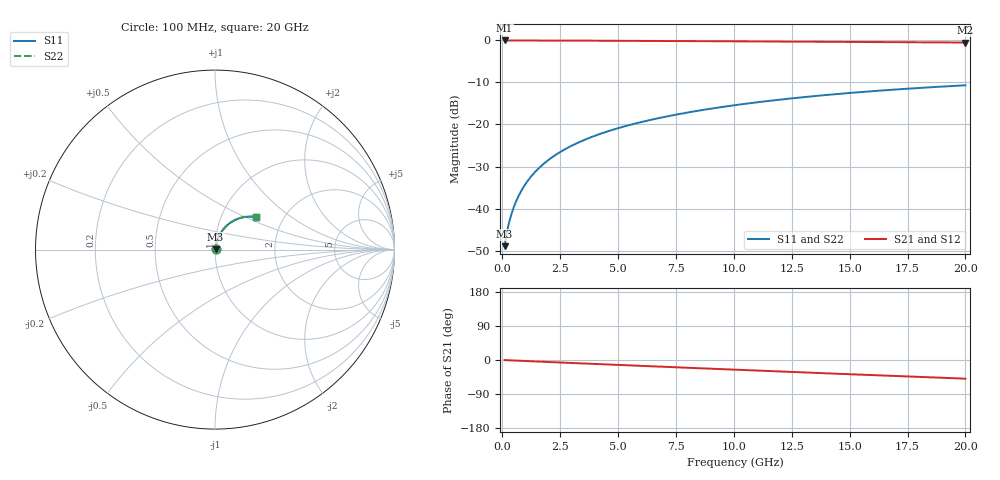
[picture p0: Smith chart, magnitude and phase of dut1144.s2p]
! Touchstone file exported from HFSS 2026.1.0
!  File:  C:/ffzhzh/LocalFiles/Ansys_Project_Files/temp_train_TMRDL_1144_1783162013_22436.aedt
!  Generated:  06:48:16 PM Jul  4, 2026
!  Design:  TMRDL
!  Project:  temp_train_TMRDL_1144_1783162013_22436
! Variables:
!  h_bsmrdl = 2um
!  h_ox = 20um
!  h_rdl = 5um
!  h_sub = 80um
!  h_tmrdl = 5.38um
!  h_tsv = 80um
!  h_via = 3um
!  l_bsmrdl = 300um
!  l_sub = 1226.65um
!  l_tmrdl = 826.65um
!  m_sub = 200um
!  pitch = 36.27um
!  r_tsv = 6um
!  s_tmrdl = 10um
!  w_bsmrdl = 18um
!  w_sub = 500um
!  w_tmrdl = 21.03um
!  x_tsv_center1 = 837.165um
!  x_tsv_center2 = 1155.165um
!  x_tsv_center3 = 2002.845um
!  x_tsv_center4 = 2320.845um
!  x_tsv_center5 = 3168.525um
!  x_tsv_center6 = 3486.525um
# GHz S MA R 50.000000
! Terminal data exported
! Port[1] = TM_RDL1_1_T1
! Port[2] = TM_RDL1_1_T2
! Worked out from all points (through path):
!   200 points, 100 MHz to 20 GHz, reference 50 ohm
!   highest |S21| = -0.02 dB at 100 MHz (marker M1); lowest = -0.5 dB at 20 GHz (marker M2)
!   group delay of S21, straight-line fit = 6.82 ps
!   lowest |S11| = -48.9 dB at 100 MHz (marker M3), VSWR 1.01, Z = 50.3 + j0.223 ohm
!   |S11| at or under -10 dB: start of sweep to end of sweep
!   |S22| runs from -48.9 to -10.7 dB; largest |S21 - S12| = 2.3e-15
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0.1  0.003576 38.3  0.9972 -0.3  0.9972 -0.3  0.003576 38.3
! Gamma 0 0 0 0
! Port Impedance 50 0 50 0
0.2  0.005231 53.9  0.9969 -0.6  0.9969 -0.6  0.005231 53.9
0.3  0.006953 61.4  0.9968 -0.8  0.9968 -0.8  0.006953 61.4
0.4  0.008694 66.1  0.9966 -1.1  0.9966 -1.1  0.008694 66.1
0.5  0.01046 69.3  0.9965 -1.3  0.9965 -1.3  0.01046 69.3
0.6  0.01225 71.6  0.9964 -1.6  0.9964 -1.6  0.01225 71.6
0.8  0.01589 74.5  0.9962 -2.1  0.9962 -2.1  0.01589 74.5
1.1  0.02142 76.6  0.9959 -2.9  0.9959 -2.9  0.02142 76.6
1.3  0.02512 77.3  0.9957 -3.4  0.9957 -3.4  0.02512 77.3
1.6  0.03066 77.7  0.9953 -4.2  0.9953 -4.2  0.03066 77.7
2.1  0.03982 77.6  0.9944 -5.5  0.9944 -5.5  0.03982 77.6
2.7  0.05064 76.7  0.9933 -7.1  0.9933 -7.1  0.05064 76.7
3.5  0.06476 75.2  0.9916 -9.2  0.9916 -9.2  0.06476 75.2
4.2  0.07684 73.7  0.99 -11.0  0.99 -11.0  0.07684 73.8
5  0.09034 72.0  0.988 -13.0  0.988 -13.0  0.09034 72.0
5.9  0.1052 70.0  0.9858 -15.2  0.9858 -15.2  0.1052 70.0
6.8  0.1197 68.0  0.9834 -17.5  0.9834 -17.5  0.1197 68.0
8.3  0.1433 64.6  0.9793 -21.2  0.9793 -21.2  0.1433 64.6
10.1  0.1704 60.5  0.974 -25.7  0.974 -25.7  0.1704 60.5
13.4  0.2164 53.0  0.9635 -33.7  0.9635 -33.7  0.2164 53.0
16.7  0.2572 45.5  0.9526 -41.6  0.9526 -41.6  0.2572 45.5
20  0.2923 38.1  0.9419 -49.2  0.9419 -49.2  0.2923 38.1
